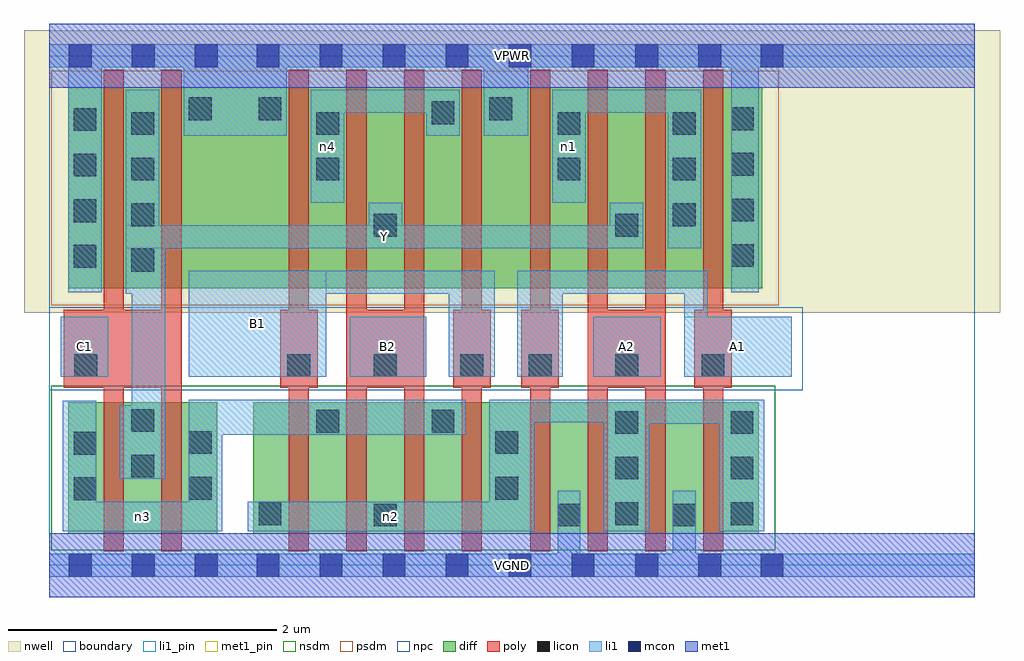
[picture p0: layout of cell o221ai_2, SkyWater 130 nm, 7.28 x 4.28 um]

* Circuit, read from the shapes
.subckt o221ai_2 A1 A2 B1 B2 C1 VGND VPWR Y n1 n2 n3 n4
XM1 Y C1 n3 VSUBS sky130_fd_pr__nfet_01v8 w=0.98 l=0.15 m=2
XM2 n3 B1 n2 VSUBS sky130_fd_pr__nfet_01v8 w=0.98 l=0.15 m=2
XM3 n2 B2 n3 VSUBS sky130_fd_pr__nfet_01v8 w=0.98 l=0.15 m=2
XM4 VGND A1 n2 VSUBS sky130_fd_pr__nfet_01v8 w=0.98 l=0.15 m=2
XM5 n2 A2 VGND VSUBS sky130_fd_pr__nfet_01v8 w=0.98 l=0.15 m=2
XM6 Y C1 VPWR n5 sky130_fd_pr__pfet_01v8 w=1.5 l=0.15 m=2
XM7 n4 B1 VPWR n5 sky130_fd_pr__pfet_01v8 w=1.5 l=0.15 m=2
XM8 Y B2 n4 n5 sky130_fd_pr__pfet_01v8 w=1.5 l=0.15 m=2
XM9 n1 A1 VPWR n5 sky130_fd_pr__pfet_01v8 w=1.5 l=0.15 m=2
XM10 Y A2 n1 n5 sky130_fd_pr__pfet_01v8 w=1.5 l=0.15 m=2
.ends

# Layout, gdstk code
import gdstk
lib = gdstk.Library(unit=1e-6, precision=1e-09)
def R(c, l, rs):  # rectangles x0, y0, x1, y1
    for r in rs: c.add(gdstk.rectangle(r[:2], r[2:], *l))
def A(c, l, x, y, w, h, nx, ny, dx, dy):  # array of equal rectangles
    R(c, l, [(x+i*dx, y+j*dy, x+i*dx+w, y+j*dy+h) for i in range(nx) for j in range(ny)])
nwell = (64, 20)
diff = (65, 20)
poly = (66, 20)
licon = (66, 44)
li1_pin = (67, 16)
li1 = (67, 20)
mcon = (67, 44)
met1_pin = (68, 16)
met1 = (68, 20)
nsdm = (93, 44)
psdm = (94, 20)
npc = (95, 20)
boundary = (235, 4)

o221ai_2 = lib.new_cell('o221ai_2')
R(o221ai_2, nwell, [(-0.19,1.885,7.09,3.99), (0,1.885,6.9,3.99)])
R(o221ai_2, diff, [(0.14,0.235,1.25,1.215), (1.52,0.235,5.29,1.215), (0.14,2.065,5.315,3.565)])
A(o221ai_2, poly, 1.785, 0.105, 0.15, 3.59, 4, 1, 0.43, 0)
A(o221ai_2, poly, 3.585, 0.105, 0.15, 3.59, 4, 1, 0.43, 0)
R(o221ai_2, poly, [(0.405,0.105,0.555,3.695), (0.835,0.105,0.985,3.695), (0.105,1.325,0.985,1.905), (1.72,1.325,2,1.905), (2.215,1.325,2.795,1.905), (3.01,1.325,3.29,1.905), (3.52,1.325,3.8,1.905), (4.015,1.325,4.595,1.905), (4.81,1.325,5.09,1.905)])
A(o221ai_2, licon, 4.22, 0.3, 0.17, 0.17, 1, 3, 0, 0.34)
A(o221ai_2, licon, 5.08, 0.3, 0.17, 0.17, 1, 3, 0, 0.34)
A(o221ai_2, licon, 1.775, 1.405, 0.17, 0.17, 3, 1, 0.645, 0)
A(o221ai_2, licon, 3.575, 1.405, 0.17, 0.17, 3, 1, 0.645, 0)
A(o221ai_2, licon, 0.61, 2.19, 0.17, 0.17, 1, 4, 0, 0.34)
A(o221ai_2, licon, 0.18, 2.22, 0.17, 0.17, 1, 4, 0, 0.34)
A(o221ai_2, licon, 5.085, 2.225, 0.17, 0.17, 1, 4, 0, 0.34)
A(o221ai_2, licon, 4.65, 2.53, 0.17, 0.17, 1, 3, 0, 0.34)
R(o221ai_2, licon, [(2.42,0.29,2.59,0.46), (3.79,0.29,3.96,0.46), (4.65,0.29,4.82,0.46), (1.56,0.3,1.73,0.47), (0.18,0.485,0.35,0.655), (1.04,0.49,1.21,0.66), (3.325,0.49,3.495,0.66), (0.61,0.655,0.78,0.825), (0.18,0.825,0.35,0.995), (1.04,0.83,1.21,1), (3.325,0.83,3.495,1), (1.99,0.99,2.16,1.16), (2.85,0.99,3.02,1.16), (0.61,0.995,0.78,1.165), (0.185,1.405,0.355,1.575), (2.42,2.45,2.59,2.62), (4.22,2.45,4.39,2.62), (1.99,2.87,2.16,3.04), (3.79,2.87,3.96,3.04), (1.99,3.21,2.16,3.38), (3.79,3.21,3.96,3.38), (2.85,3.29,3.02,3.46), (1.04,3.32,1.21,3.49), (1.56,3.32,1.73,3.49), (3.28,3.32,3.45,3.49)])
R(o221ai_2, li1_pin, [(0.085,1.405,0.44,1.855), (1.04,1.405,2.065,2.195), (2.24,1.405,2.81,1.855), (4.055,1.405,4.56,1.855), (4.735,1.405,5.535,1.855), (0.57,2.365,4.43,2.535)])
R(o221ai_2, li1, [(0,-0.085,6.9,0.085), (3.79,-0.085,3.96,0.555), (4.65,-0.085,4.82,0.555), (0.1,0.255,1.29,0.475), (0.1,0.255,0.35,1.225), (1.04,0.255,1.29,1.235), (1.48,0.255,3.615,0.475), (3.28,0.255,3.615,1.235), (4.135,0.255,4.475,1.235), (4.995,0.255,5.33,1.235), (0.525,0.645,0.865,1.195), (0.615,0.645,0.865,2.535), (1.04,0.975,3.105,1.235), (4.135,1.055,5.33,1.235), (3.28,1.065,5.33,1.235), (0.085,1.405,0.44,1.855), (1.04,1.405,2.065,2.195), (2.24,1.405,2.81,1.855), (2.98,1.405,3.32,2.195), (3.49,1.405,3.83,2.195), (4.055,1.405,4.56,1.855), (4.735,1.405,5.535,1.855), (4.735,1.405,4.91,2.195), (0.57,2.025,0.82,3.545), (1.04,2.025,3.32,2.195), (3.49,2.025,4.91,2.195), (0.14,2.035,0.39,3.885), (5.085,2.035,5.29,3.885), (0.57,2.365,4.43,2.535), (2.38,2.365,2.63,2.705), (4.18,2.365,4.43,2.705), (4.61,2.365,4.86,3.545), (1.95,2.705,2.2,3.545), (3.75,2.705,4,3.545), (1,3.205,1.77,3.885), (2.81,3.205,3.06,3.545), (3.24,3.205,3.57,3.885), (1.95,3.375,3.06,3.545), (3.75,3.375,4.86,3.545), (0,3.715,6.9,3.885)])
A(o221ai_2, mcon, 0.145, -0.085, 0.17, 0.17, 3, 2, 0.47, 3.8)
A(o221ai_2, mcon, 1.545, -0.085, 0.17, 0.17, 6, 2, 0.47, 3.8)
R(o221ai_2, mcon, [(4.37,-0.085,4.54,0.085), (4.84,-0.085,5.01,0.085), (5.305,-0.085,5.475,0.085), (4.37,3.715,4.54,3.885), (4.84,3.715,5.01,3.885), (5.305,3.715,5.475,3.885)])
R(o221ai_2, met1_pin, [(0,-0.24,6.9,0.24), (0,3.56,6.9,4.04)])
R(o221ai_2, met1, [(0,-0.24,6.9,0.24), (0,3.56,6.9,4.04)])
R(o221ai_2, nsdm, [(0.015,0.11,5.415,1.34)])
R(o221ai_2, psdm, [(0.015,1.94,5.44,3.69)])
R(o221ai_2, npc, [(0,1.305,5.62,1.925)])
R(o221ai_2, boundary, [(0,0,6.9,3.8)])
o221ai_2.add(gdstk.Label('A1', (5.135,1.63), layer=67, texttype=5))
o221ai_2.add(gdstk.Label('A2', (4.307,1.63), layer=67, texttype=5))
o221ai_2.add(gdstk.Label('B1', (1.552,1.8), layer=67, texttype=5))
o221ai_2.add(gdstk.Label('B2', (2.525,1.63), layer=67, texttype=5))
o221ai_2.add(gdstk.Label('C1', (0.262,1.63), layer=67, texttype=5))
o221ai_2.add(gdstk.Label('Y', (2.5,2.45), layer=67, texttype=5))
o221ai_2.add(gdstk.Label('n3', (0.695,0.365), layer=67, texttype=5))
o221ai_2.add(gdstk.Label('n2', (2.547,0.365), layer=67, texttype=5))
o221ai_2.add(gdstk.Label('n4', (2.075,3.125), layer=67, texttype=5))
o221ai_2.add(gdstk.Label('n1', (3.875,3.125), layer=67, texttype=5))
o221ai_2.add(gdstk.Label('VPWR', (3.45,3.8), layer=68, texttype=5))
o221ai_2.add(gdstk.Label('VGND', (3.45,0), layer=68, texttype=5))
o221ai_2.add(gdstk.Label('A1', (5.135,1.63), layer=67, texttype=16))
o221ai_2.add(gdstk.Label('A2', (4.307,1.63), layer=67, texttype=16))
o221ai_2.add(gdstk.Label('B1', (1.552,1.8), layer=67, texttype=16))
o221ai_2.add(gdstk.Label('B2', (2.525,1.63), layer=67, texttype=16))
o221ai_2.add(gdstk.Label('C1', (0.262,1.63), layer=67, texttype=16))
o221ai_2.add(gdstk.Label('Y', (2.5,2.45), layer=67, texttype=16))
o221ai_2.add(gdstk.Label('VPWR', (3.45,3.8), layer=68, texttype=16))
o221ai_2.add(gdstk.Label('VGND', (3.45,0), layer=68, texttype=16))

lib.write_gds('o221ai_2.gds')
